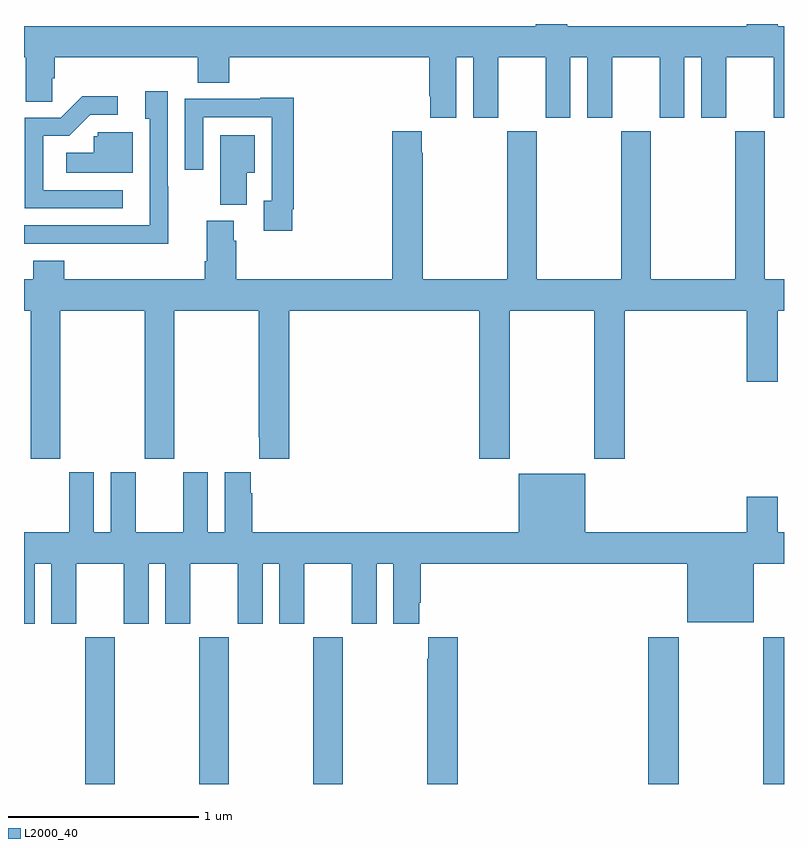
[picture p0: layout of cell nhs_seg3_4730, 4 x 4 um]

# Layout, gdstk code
import gdstk
lib = gdstk.Library(unit=1e-6, precision=1e-09)
def R(c, l, rs):  # rectangles x0, y0, x1, y1
    for r in rs: c.add(gdstk.rectangle(r[:2], r[2:], *l))
def A(c, l, x, y, w, h, nx, ny, dx, dy):  # array of equal rectangles
    R(c, l, [(x+i*dx, y+j*dy, x+i*dx+w, y+j*dy+h) for i in range(nx) for j in range(ny)])
def P(c, l, *ps):  # polygons
    for p in ps: c.add(gdstk.Polygon(p, *l))
L2000_40 = (2000, 40)

nhs_seg3_4730 = lib.new_cell('nhs_seg3_4730')
A(nhs_seg3_4730, L2000_40, 365.323, 722.4, 0.155, 0.772, 3, 1, 0.6, 0)
R(nhs_seg3_4730, L2000_40, [(368.285,722.4,368.445,723.172), (368.89,722.4,369,723.172)])
P(nhs_seg3_4730, L2000_40, [(367.858,726.4),(367.694,726.4),(367.694,726.388),(365,726.388),(365,726.224),(365.009,726.224),(365.009,725.992),(365.148,725.992),(365.148,726.115),(365.162,726.115),(365.162,726.224),(365.915,726.224),(365.915,726.091),(366.08,726.091),(366.08,726.224),(367.133,726.224),(367.133,726.019),(367.139,726.019),(367.139,725.907),(367.276,725.907),(367.276,726.224),(367.364,726.224),(367.364,725.907),(367.495,725.907),(367.495,726.224),(367.745,726.224),(367.745,725.907),(367.876,725.907),(367.876,726.224),(367.964,726.224),(367.964,725.907),(368.095,725.907),(368.095,726.224),(368.345,726.224),(368.345,725.907),(368.476,725.907),(368.476,726.224),(368.564,726.224),(368.564,725.907),(368.695,725.907),(368.695,726.224),(368.945,726.224),(368.945,725.907),(369,725.907),(369,726.388),(368.968,726.388),(368.968,726.4),(368.804,726.4),(368.804,726.388),(367.858,726.388)],
  [(365.759,725.546),(365.757,725.546),(365.757,726.046),(365.639,726.046),(365.639,725.901),(365.661,725.901),(365.661,725.34),(365,725.34),(365,725.244),(365.296,725.244),(365.296,725.243),(365.759,725.243)],
  [(365.521,725.526),(365.1,725.526),(365.1,725.811),(365.238,725.811),(365.349,725.922),(365.494,725.922),(365.494,726.02),(365.306,726.02),(365.193,725.907),(365.004,725.907),(365.004,725.43),(365.521,725.43)],
  [(366.412,725.425),(366.419,725.425),(366.419,726.013),(366.243,726.013),(366.243,726.006),(365.847,726.006),(365.847,725.634),(365.943,725.634),(365.943,725.91),(366.303,725.91),(366.303,725.469),(366.263,725.469),(366.263,725.313),(366.412,725.313)],
  [(365.19,724.892),(365.635,724.892),(365.635,724.113),(365.79,724.113),(365.79,724.892),(366.235,724.892),(366.235,724.225),(366.239,724.225),(366.239,724.113),(366.395,724.113),(366.395,724.892),(367.397,724.892),(367.397,724.113),(367.557,724.113),(367.557,724.892),(368.002,724.892),(368.002,724.113),(368.162,724.113),(368.162,724.892),(368.804,724.892),(368.804,724.518),(368.968,724.518),(368.968,724.892),(369,724.892),(369,725.056),(368.898,725.056),(368.898,725.836),(368.743,725.836),(368.743,725.056),(368.298,725.056),(368.298,725.836),(368.143,725.836),(368.143,725.056),(367.698,725.056),(367.698,725.836),(367.543,725.836),(367.543,725.056),(367.098,725.056),(367.098,725.723),(367.093,725.723),(367.093,725.836),(366.938,725.836),(366.938,725.056),(366.116,725.056),(366.116,725.258),(366.103,725.258),(366.103,725.364),(365.963,725.364),(365.963,725.152),(365.951,725.152),(365.951,725.056),(365.213,725.056),(365.213,725.155),(365.048,725.155),(365.048,725.056),(365,725.056),(365,724.892),(365.035,724.892),(365.035,724.113),(365.19,724.113)],
  [(365.572,725.829),(365.388,725.829),(365.388,725.808),(365.367,725.808),(365.367,725.722),(365.223,725.722),(365.223,725.618),(365.572,725.618)],
  [(366.172,725.618),(366.214,725.618),(366.214,725.815),(366.032,725.815),(366.032,725.449),(366.172,725.449)],
  [(365.056,723.56),(365.144,723.56),(365.144,723.243),(365.275,723.243),(365.275,723.56),(365.525,723.56),(365.525,723.243),(365.656,723.243),(365.656,723.56),(365.744,723.56),(365.744,723.243),(365.875,723.243),(365.875,723.56),(366.125,723.56),(366.125,723.243),(366.256,723.243),(366.256,723.56),(366.344,723.56),(366.344,723.243),(366.475,723.243),(366.475,723.56),(366.725,723.56),(366.725,723.243),(366.856,723.243),(366.856,723.56),(366.944,723.56),(366.944,723.243),(367.081,723.243),(367.081,723.355),(367.088,723.355),(367.088,723.56),(368.492,723.56),(368.492,723.251),(368.842,723.251),(368.842,723.56),(369,723.56),(369,723.724),(368.968,723.724),(368.968,723.913),(368.804,723.913),(368.804,723.724),(367.954,723.724),(367.954,724.033),(367.604,724.033),(367.604,723.724),(366.2,723.724),(366.2,723.929),(366.193,723.929),(366.193,724.042),(366.056,724.042),(366.056,723.724),(365.968,723.724),(365.968,724.042),(365.837,724.042),(365.837,723.724),(365.587,723.724),(365.587,724.042),(365.456,724.042),(365.456,723.724),(365.368,723.724),(365.368,724.042),(365.237,724.042),(365.237,723.724),(365,723.724),(365,723.243),(365.056,723.243)],
  [(367.283,723.172),(367.127,723.172),(367.127,723.059),(367.123,723.059),(367.123,722.4),(367.283,722.4)])

lib.write_gds('nhs_seg3_4730.gds')
